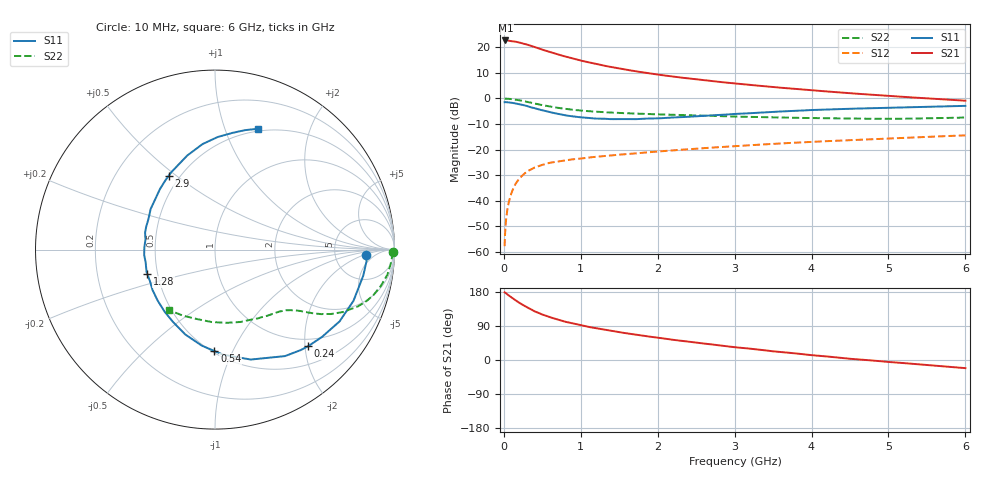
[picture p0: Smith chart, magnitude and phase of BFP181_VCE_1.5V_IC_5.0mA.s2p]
! Infineon Technologies  Discrete & RF Semiconductors
! BFP181
! VCE = 1.5 V,  IC =  5.0 mA
! Common Emitter S-Parameters:  Jan 2016
# GHz  S  MA  R  50
!  f  S11  S21  S12  S22
! GHz  MAG  ANG  MAG  ANG  MAG  ANG  MAG  ANG
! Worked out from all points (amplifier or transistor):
!   210 points, 10 MHz to 6 GHz, reference 50 ohm
!   highest |S21| = 22.6 dB at 20 MHz (marker M1)
!   |S21| within 3 dB of that: start of sweep to 443 MHz
!   unconditionally stable (mu >= 1): 1.533 GHz to end of sweep
!   at 185 MHz: K = 0.19, MSG = 27.0 dB, |S12| = -32.0 dB
!   at 1.52 GHz: K = 0.99, MSG = 16.8 dB, |S12| = -21.9 dB
!   at 6 GHz: K = 1.07, MAG = 5.2 dB, |S12| = -14.4 dB
!   S11 on the Smith chart (normalised r, x): 10 MHz: 11, -2; 240 MHz: 0.85, -2.06; 540 MHz: 0.51, -0.85; 1.28 GHz: 0.44, -0.14; 2.9 GHz: 0.44, +0.47; 6 GHz: 0.47, +1.30
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0.01  0.8416 -2.1  13.46 178.6  0.0013 92.1  0.9892 -0.8
0.02  0.8468 -4.3  13.52 177.4  0.0029 88.8  0.9892 -1.7
0.05  0.8386 -10.0  13.52 172.4  0.0074 87.1  0.9835 -4.3
0.15  0.801 -30.0  12.84 157.8  0.0211 74.6  0.9464 -12.3
0.2  0.7695 -39.2  12.38 151.0  0.0269 69.0  0.9192 -15.9
0.24  0.7475 -46.1  11.86 146.1  0.0311 65.5  0.8952 -18.4
0.3  0.71 -56.7  11.26 139.3  0.0373 61.5  0.8564 -21.7
0.4  0.6441 -72.0  10.09 128.4  0.0446 55.6  0.7935 -26.0
0.5  0.5867 -85.7  8.94 120.0  0.0503 50.2  0.7383 -29.1
0.54  0.5649 -90.3  8.568 117.3  0.0523 49.0  0.7197 -29.9
0.6  0.5398 -97.9  8.05 112.8  0.0554 47.4  0.6921 -31.3
0.7  0.5007 -109.4  7.202 106.5  0.0583 45.0  0.6541 -32.9
0.78  0.4715 -117.9  6.69 102.1  0.061 43.5  0.6299 -33.9
1.02  0.424 -140.2  5.386 90.8  0.0674 40.7  0.5753 -36.3
1.28  0.4009 -160.4  4.418 81.0  0.0741 38.9  0.5404 -38.6
1.56  0.394 -179.3  3.704 71.5  0.0809 38.2  0.5149 -41.2
2.02  0.408 155.4  2.889 58.3  0.0923 36.9  0.4867 -46.6
2.9  0.4845 122.3  2.027 36.2  0.114 33.7  0.4465 -59.7
3.1  0.5042 116.4  1.897 31.9  0.1191 32.7  0.4379 -63.2
4.1  0.5983 95.0  1.403 11.1  0.1439 26.9  0.4099 -83.3
5.1  0.6625 80.4  1.093 -6.6  0.1666 21.0  0.4001 -106.2
6  0.7142 70.5  0.901 -21.5  0.1895 14.9  0.4233 -127.0
